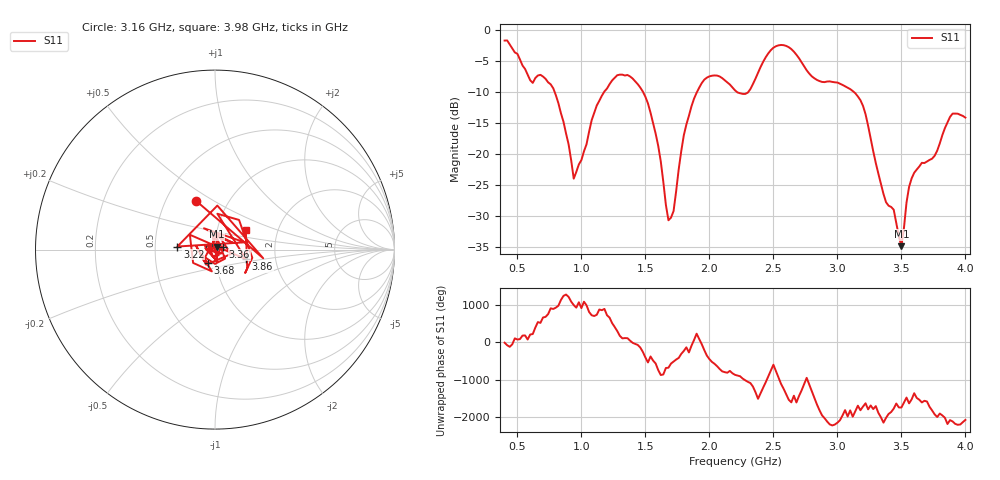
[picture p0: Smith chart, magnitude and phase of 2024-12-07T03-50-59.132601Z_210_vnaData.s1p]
!Created with skrf (http://scikit-rf.org).
# Hz S RI R 50.0
!freq ReS11 ImS11
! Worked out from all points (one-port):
!   181 points, 400 MHz to 4 GHz, reference 50 ohm
!   lowest |S11| = -34.8 dB at 3.5 GHz (marker M1), VSWR 1.04, Z = 50.8 + j1.63 ohm
!   |S11| at or under -10 dB: 791.6 MHz to 1.176 GHz (384.6 MHz wide, 39.1 % of centre); 1.483 GHz to 1.902 GHz (419.6 MHz wide, 24.8 % of centre); 3.131 GHz to end of sweep (the widest 3 of 4)
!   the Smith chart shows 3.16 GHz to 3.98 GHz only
!   S11 on the Smith chart (normalised r, x): 3.16 GHz: 0.70, +0.42; 3.22 GHz: 0.65, +0.02; 3.36 GHz: 1.09, +0.03; 3.68 GHz: 0.91, -0.14; 3.86 GHz: 1.41, -0.16; 3.98 GHz: 1.37, +0.31
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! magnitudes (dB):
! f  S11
! 400 MHz  -1.7
! 620 MHz  -8.5
! 760 MHz  -8.7
! 860 MHz  -14.8
! 940 MHz  -23.9
! 1.12 GHz  -12.1
! 1.3 GHz  -7.2
! 1.52 GHz  -11.8
! 1.6 GHz  -18.6
! 1.68 GHz  -30.6
! 1.72 GHz  -29.2
! 1.76 GHz  -22.5
! 1.82 GHz  -15.2
! 1.94 GHz  -8.5
! 2.2 GHz  -9.7
! 2.3 GHz  -10.1
! 2.5 GHz  -2.8
! 2.66 GHz  -3.5
! 3.1 GHz  -9.5
! 3.16 GHz  -10.7
! 3.22 GHz  -13.5
! 3.36 GHz  -26.4
! 3.5 GHz  -34.8
! 3.56 GHz  -25.3
! 3.68 GHz  -21.4
! 3.86 GHz  -14.9
! 3.98 GHz  -13.8
! 4 GHz  -14.1
